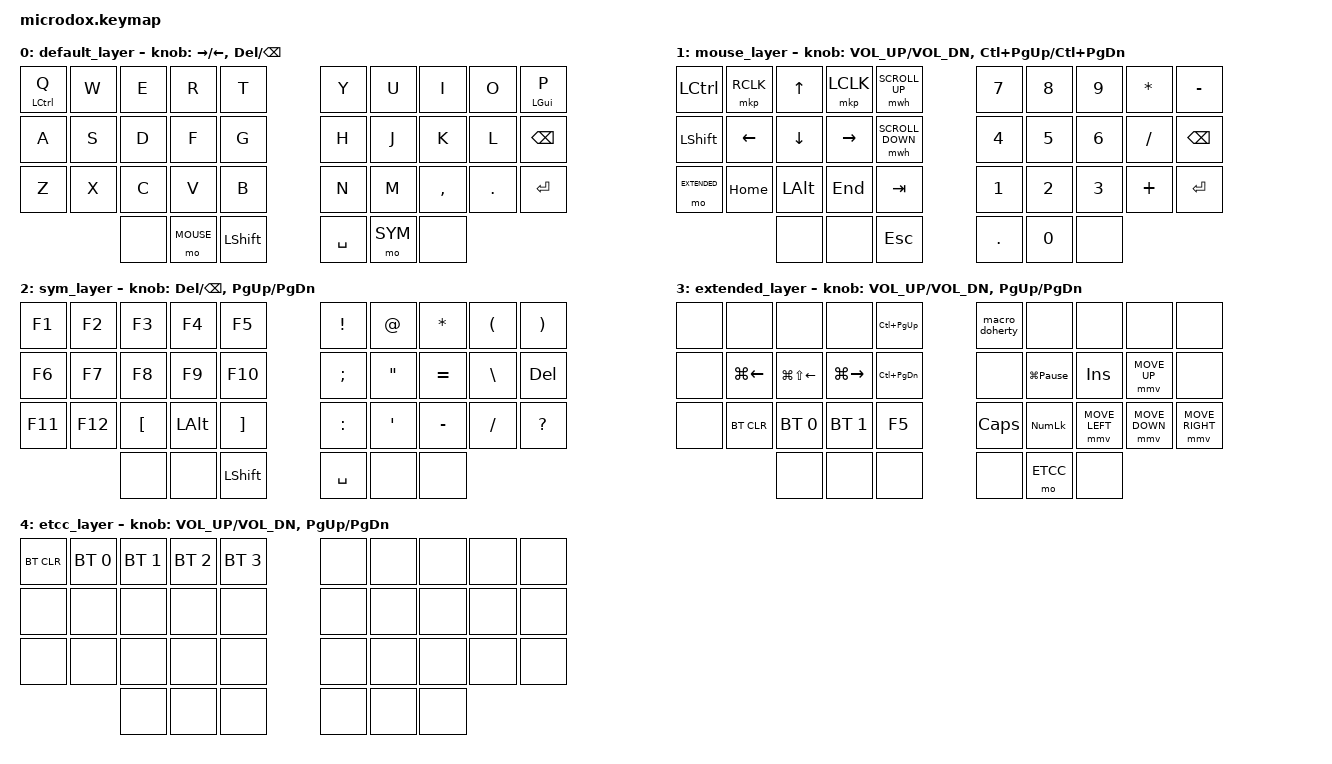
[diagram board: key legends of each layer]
/*
 * Copyright (c) 2020 The ZMK Contributors
 *
 * SPDX-License-Identifier: MIT
 */

#include <behaviors.dtsi>
#include <dt-bindings/zmk/keys.h>
#include <dt-bindings/zmk/bt.h>
#include <dt-bindings/zmk/outputs.h>
#include <dt-bindings/zmk/mouse.h>

#define BASE        0
#define MOUSE       1
#define SYM         2
#define EXTENDED    3
#define ETCC        4

#include <behaviors.dtsi>
#include <dt-bindings/zmk/keys.h>

/ {
    macros {
        macro_doherty: macro_doherty {
            label = "macro_doherty";
            compatible = "zmk,behavior-macro";
            #binding-cells = <0>;
            bindings
                = <&macro_tap &kp B &kp E &kp N &kp DOT &kp L &kp E &kp E &kp AT &kp D &kp O &kp H &kp E &kp R &kp T &kp Y &kp DOT &kp C &kp O &kp DOT &kp U &kp K>
                ;
        };
    };
};


/ {
    combos {
        compatible = "zmk,combos";
       
        combo_alias {
        timeout-ms = <50>;
        key-positions = <6 7>;
        bindings = <&kp AT>;
        };
        combo_exclamation { 
        timeout-ms = <50>;
        key-positions=<5 6>;
        bindings = <&kp EXCL>;
        };
        combo_minus { 
        timeout-ms = <50>;
        key-positions=<27 28>;
        bindings = <&kp MINUS>;
        };
        combo_exclamation { 
        timeout-ms = <50>;
        key-positions=<26 27>;
        bindings = <&kp COLON>;
        };
        combo_delete { 
        timeout-ms = <50>;
        key-positions=<18 19>;
        bindings = <&kp LC(BKSP)>;
        };
        combo_PLUS { 
        timeout-ms = <50>;
        key-positions=<25 26>;
        bindings = <&kp PLUS>;
        };
        combo_slash { 
        timeout-ms = <50>;
        key-positions=<15 16>;
        bindings = <&kp SLASH>;
        };
        combo_times { 
        timeout-ms = <50>;
        key-positions=<7 8>;
        bindings = <&kp STAR>;
        };
    };
};


/ {
    behaviors {
        hm: homerow_mods {
            compatible = "zmk,behavior-hold-tap";
            label = "HOMEROW_MODS";
            #binding-cells = <2>;
            tapping-term-ms = <200>;
            quick-tap-ms = <0>;
            flavor = "tap-preferred";
            bindings = <&kp>, <&kp>;
        };
    };

    keymap {
      compatible = "zmk,keymap";

      default_layer {
// -----------------------------------------------------------------------------------------
// |     |     |     |     |     |   |     |     |     |     |     |
// |     |     |     |     |     |   |     |     |     |     |     |
// |     |     |     |     |     |   |     |     |     |     |     |
//             |     |     |     |   |     |     |     |
                bindings = <   
   &hm LCTRL Q &kp W &kp E &kp R &kp T       &kp Y     &kp U    &kp I     &kp O   &hm LGUI P
   &kp A       &kp S &kp D &kp F &kp G       &kp H     &kp J    &kp K     &kp L   &kp BKSP
   &kp Z       &kp X &kp C &kp V &kp B       &kp N     &kp M    &kp COMMA &kp DOT &kp RET
               &none &mo MOUSE &kp LSHIFT    &kp SPACE &mo SYM  &none
        >;
                                
        sensor-bindings = <&inc_dec_kp RIGHT LEFT &inc_dec_kp DEL BKSP>;
      };

      mouse_layer {
// -----------------------------------------------------------------------------------------
// |     |     |     |     |     |   |     |     |     |     |     |
// |     |     |     |     |     |   |     |     |     |     |     |
// |     |     |     |     |     |   |     |     |     |     |     |
//             |     |     |     |   |     |     |     |
                bindings = <   
   &kp LCTRL    &mkp RCLK   &kp UP   &mkp LCLK &mwh SCROLL_UP     &kp NUMBER_7 &kp NUMBER_8  &kp NUMBER_9 &kp STAR  &kp MINUS
   &kp LSHIFT   &kp LEFT    &kp DOWN &kp RIGHT &mwh SCROLL_DOWN   &kp NUMBER_4 &kp NUMBER_5  &kp NUMBER_6 &kp SLASH &kp BKSP
   &mo EXTENDED &kp HOME    &kp LALT &kp END   &kp TAB            &kp NUMBER_1 &kp NUMBER_2  &kp NUMBER_3 &kp PLUS  &kp RET
                            &none    &none     &kp ESC            &kp DOT      &kp NUMBER_0  &none

        >;
                                
        sensor-bindings = <&inc_dec_kp C_VOL_UP C_VOL_DN &inc_dec_kp LC(PG_UP) LC(PG_DN)>;
      };

   sym_layer { 
// -----------------------------------------------------------------------------------------
// |     |     |     |     |     |   |     |     |     |     |     |
// |     |     |     |     |     |   |     |     |     |     |     |
// |     |     |     |     |     |   |     |     |     |     |     |
//             |     |     |     |   |     |     |     |
                bindings = <   
   &kp F1  &kp F2  &kp F3   &kp F4    &kp F5            &kp EXCL      &kp AT    &kp STAR  &kp LPAR &kp RPAR
   &kp F6  &kp F7  &kp F8   &kp F9    &kp F10           &kp SEMICOLON &kp DQT   &kp EQUAL &kp BSLH &kp DEL
   &kp F11 &kp F12 &kp LBKT &kp LALT  &kp RBKT          &kp COLON     &kp APOS  &kp MINUS &kp FSLH &kp QUESTION
                   &none    &none     &kp LSHIFT        &kp SPACE     &none     &none
        >;      
            sensor-bindings = <&inc_dec_kp DEL BKSP &inc_dec_kp PG_UP PG_DN>; 
      }; 

    extended_layer {
// -----------------------------------------------------------------------------------------
// |     |     |     |     |     |   |     |     |     |     |     |
// |     |     |     |     |     |   |     |     |     |     |     |
// |     |     |     |     |     |   |     |     |     |     |     |
//             |     |     |     |   |     |     |     |
                bindings = <   
   &none &none &none &none &kp LC(PAGE_UP)                                &macro_doherty &none  &none &none &none
   &none &kp LG(LEFT) &kp LG(LS(LEFT)) &kp LG(RIGHT) &kp LC(PAGE_DOWN)    &none &kp LG(PAUSE_BREAK)  &kp INS &mmv MOVE_UP &none
   &none &bt BT_CLR &bt BT_SEL 0 &bt BT_SEL 1 &kp F5                      &kp CAPS &kp KP_NUM  &mmv MOVE_LEFT &mmv MOVE_DOWN &mmv MOVE_RIGHT
               &none &none &none                                          &none &mo ETCC  &none
                >;

        sensor-bindings = <&inc_dec_kp C_VOL_UP C_VOL_DN &inc_dec_kp PG_UP PG_DN>;

    };

    etcc_layer {
// -----------------------------------------------------------------------------------------
// |     |     |     |     |     |   |     |     |     |     |     |
// |     |     |     |     |     |   |     |     |     |     |     |
// |     |     |     |     |     |   |     |     |     |     |     |
//             |     |     |     |   |     |     |     |
                bindings = <   
   &bt BT_CLR &bt BT_SEL 0 &bt BT_SEL 1 &bt BT_SEL 2 &bt BT_SEL 3    &none &none  &none &none &none
   &none &none &none &none &none                                     &none &none  &none &none &none
   &none &none &none &none &none                                     &none &none  &none &none &none
               &none &none &none                                     &none &none  &none
                >;

        sensor-bindings = <&inc_dec_kp C_VOL_UP C_VOL_DN &inc_dec_kp PG_UP PG_DN>;
        
    };
  }; 
};  

